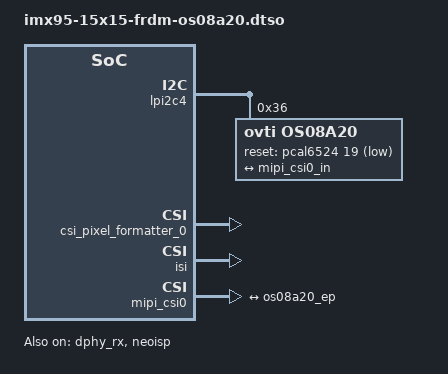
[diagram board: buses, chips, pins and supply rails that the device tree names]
// SPDX-License-Identifier: (GPL-2.0+ OR MIT)
/*
 * OS08A20 camera on the i.MX95 15x15 FRDM, dedicated MIPI-CSI connector
 * (lpi2c4). Pipeline: os08a20 -> MIPI CSI-2 (synopsys) -> CSI formatter -> ISI.
 */

/dts-v1/;
/plugin/;

#include <dt-bindings/gpio/gpio.h>

&lpi2c4 {
	#address-cells = <1>;
	#size-cells = <0>;
	status = "okay";

	os08a20: camera@36 {
		compatible = "ovti,os08a20";
		reg = <0x36>;
		clocks = <&dummy>;
		reset-gpios = <&pcal6524 19 GPIO_ACTIVE_LOW>;
		orientation = <2>;
		rotation = <0>;
		status = "okay";

		port {
			os08a20_ep: endpoint {
				remote-endpoint = <&mipi_csi0_in>;
				data-lanes = <1 2 3 4>;
				clock-lanes = <0>;
			};
		};
	};
};

&dphy_rx {
	status = "okay";
};

&csi_pixel_formatter_0 {
	status = "okay";
};

&isi {
	status = "okay";
};

&mipi_csi0 {
	status = "okay";

	ports {
		port@0 {
			mipi_csi0_in: endpoint {
				remote-endpoint = <&os08a20_ep>;
				data-lanes = <1 2 3 4>;
				clock-lanes = <0>;
			};
		};
	};
};

&neoisp {
	status = "okay";
};
